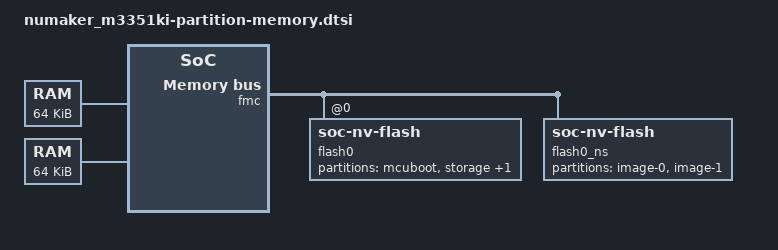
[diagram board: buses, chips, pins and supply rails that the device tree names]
/*
 * SPDX-FileCopyrightText: Copyright (c) 2026 Nuvoton Technology Corporation
 * SPDX-License-Identifier: Apache-2.0
 */

/* Partition flash0
 *
 * flash0: Embedded flash in Secure view
 * flash0_ns: Non-Secure view of flash0
 * flash0_s_partition: Partitioned flash0 for SPE
 * flash0_ns_partition: Partitioned flash0_ns for NSPE
 */
/delete-node/ &flash0;
&fmc {
	ranges;

	flash0: flash@0 {
		compatible = "soc-nv-flash";
		erase-block-size = <8192>;
		write-block-size = <8>;
		reg = <0 DT_SIZE_K(1024)>;

		#address-cells = <1>;
		#size-cells = <1>;
		ranges;

		flash0_s_partition: s_partition@0 {
			reg = <0 DT_SIZE_K(512)>;
		};
	};

	flash0_ns: flash@10000000 {
		compatible = "soc-nv-flash";
		erase-block-size = <8192>;
		write-block-size = <8>;
		reg = <0x10000000 DT_SIZE_K(1024)>;

		#address-cells = <1>;
		#size-cells = <1>;
		ranges = <0x0 0x10000000 0x100000>;

		flash0_ns_partition: ns_partition@80000 {
			reg = <0x80000 DT_SIZE_K(512)>;
		};
	};
};

&flash0_s_partition {
	ranges;
	#address-cells = <1>;
	#size-cells = <1>;

	partitions {
		ranges;
		#address-cells = <1>;
		#size-cells = <1>;

		boot_partition: partition@0 {
			compatible = "zephyr,mapped-partition";
			label = "mcuboot";
			reg = <0x0 0x10000>;
		};

		storage_partition: partition@10000 {
			compatible = "zephyr,mapped-partition";
			label = "storage";
			reg = <0x10000 0xe000>;
		};

		scratch_partition: partition@1e000 {
			compatible = "zephyr,mapped-partition";
			label = "image-scratch";
			reg = <0x1e000 0x2000>;
		};
	};
};

&flash0_ns_partition {
	ranges;
	#address-cells = <1>;
	#size-cells = <1>;

	partitions {
		ranges;
		#address-cells = <1>;
		#size-cells = <1>;

		slot0_partition: partition@80000 {
			compatible = "zephyr,mapped-partition";
			label = "image-0";
			reg = <0x80000 0x40000>;
		};

		slot1_partition: partition@c0000 {
			compatible = "zephyr,mapped-partition";
			label = "image-1";
			reg = <0xc0000 0x40000>;
		};
	};
};

/* Partition sram0
 *
 * sram0: Embedded SRAM in Secure view (deleted for no use)
 * sram0_ns: Non-Secure view of sram0 (not defined for no use)
 * sram0_s_partition: Partitioned sram0 for SPE
 * sram0_ns_partition: Partitioned sram0_ns for NSPE
 */
/delete-node/ &sram0;
/ {
	sram0_s_partition: memory@20000000 {
		compatible = "mmio-sram";
		reg = <0x20000000 DT_SIZE_K(64)>;
	};

	sram0_ns_partition: memory@30010000 {
		compatible = "mmio-sram";
		reg = <0x30010000 DT_SIZE_K(64)>;
	};
};
